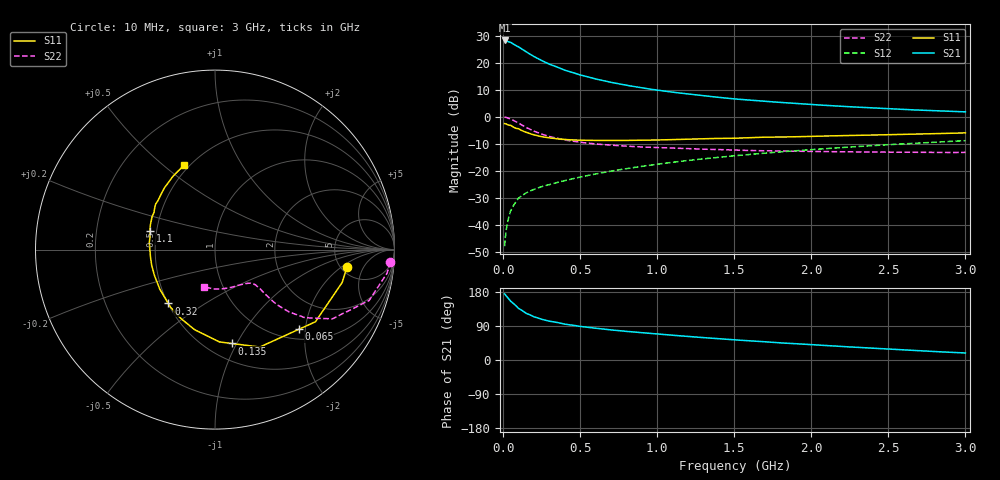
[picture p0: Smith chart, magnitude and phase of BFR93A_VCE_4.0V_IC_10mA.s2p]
! Infineon Technologies  Discrete & RF Semiconductors
! BFR93A
! VCE =  4.0 V,  IC =  10 mA
! Common Emitter S-Parameters:  Nov 2015
# GHz  S  MA  R  50
!  f  S11  S21  S12  S22
! GHz  MAG  ANG  MAG  ANG  MAG  ANG  MAG  ANG
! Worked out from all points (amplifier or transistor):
!   180 points, 10 MHz to 3 GHz, reference 50 ohm
!   highest |S21| = 28.2 dB at 10 MHz (marker M1)
!   |S21| within 3 dB of that: start of sweep to 117 MHz
!   unconditionally stable (mu >= 1): 581.2 MHz to 2.781 GHz
!   at 160 MHz: K = 0.51, MSG = 25.8 dB, |S12| = -28.0 dB
!   at 1.22 GHz: K = 1.09, MAG = 10.3 dB, |S12| = -16.1 dB
!   at 3 GHz: K = 0.98, MSG = 5.3 dB, |S12| = -8.9 dB
!   S11 on the Smith chart (normalised r, x): 10 MHz: 5.70, -2.42; 65 MHz: 1.21, -1.84; 135 MHz: 0.65, -0.95; 320 MHz: 0.50, -0.36; 1.1 GHz: 0.46, +0.11; 3 GHz: 0.47, +0.59
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0.01  0.7421 -7.4  25.69 174.4  0.004 86.3  0.9794 -4.0
0.02  0.7318 -14.5  25.35 169.2  0.0078 81.7  0.9678 -7.8
0.05  0.6891 -35.7  23.63 154.7  0.0182 74.1  0.9042 -18.3
0.065  0.6443 -43.6  22.18 149.9  0.0219 69.5  0.8567 -21.5
0.1  0.5975 -65.3  19.57 136.2  0.0309 63.2  0.7586 -30.6
0.135  0.5311 -80.0  16.83 127.6  0.0364 59.4  0.6673 -34.9
0.15  0.5151 -87.2  15.8 123.0  0.0388 58.1  0.6295 -37.1
0.2  0.4609 -104.1  12.98 114.1  0.0449 56.4  0.5389 -40.1
0.24  0.4315 -114.7  11.31 108.9  0.0493 56.2  0.4866 -41.2
0.26  0.4212 -119.5  10.59 106.5  0.0514 56.3  0.4645 -41.6
0.3  0.4051 -127.8  9.367 102.5  0.0552 56.8  0.4281 -41.8
0.32  0.3972 -130.9  8.93 101.2  0.0572 57.2  0.4162 -41.7
0.4  0.3784 -144.3  7.239 94.6  0.0653 58.5  0.3686 -41.5
0.52  0.3654 -158.8  5.722 87.8  0.0781 60.2  0.3301 -41.0
0.7  0.3619 -173.6  4.313 79.4  0.0978 61.8  0.2961 -41.2
0.88  0.367 174.8  3.482 72.8  0.1178 62.4  0.2761 -42.8
1.02  0.3702 168.0  3.036 68.0  0.1338 62.1  0.2662 -44.7
1.1  0.3764 164.3  2.833 65.3  0.1428 61.9  0.2607 -46.2
1.52  0.3997 148.2  2.105 52.7  0.1906 59.5  0.2395 -55.6
2.02  0.4326 133.5  1.662 40.0  0.2471 55.4  0.2263 -69.8
2.52  0.4646 121.7  1.393 28.5  0.3045 50.2  0.2199 -86.7
3  0.5004 110.3  1.224 18.5  0.3592 44.6  0.218 -106.8
